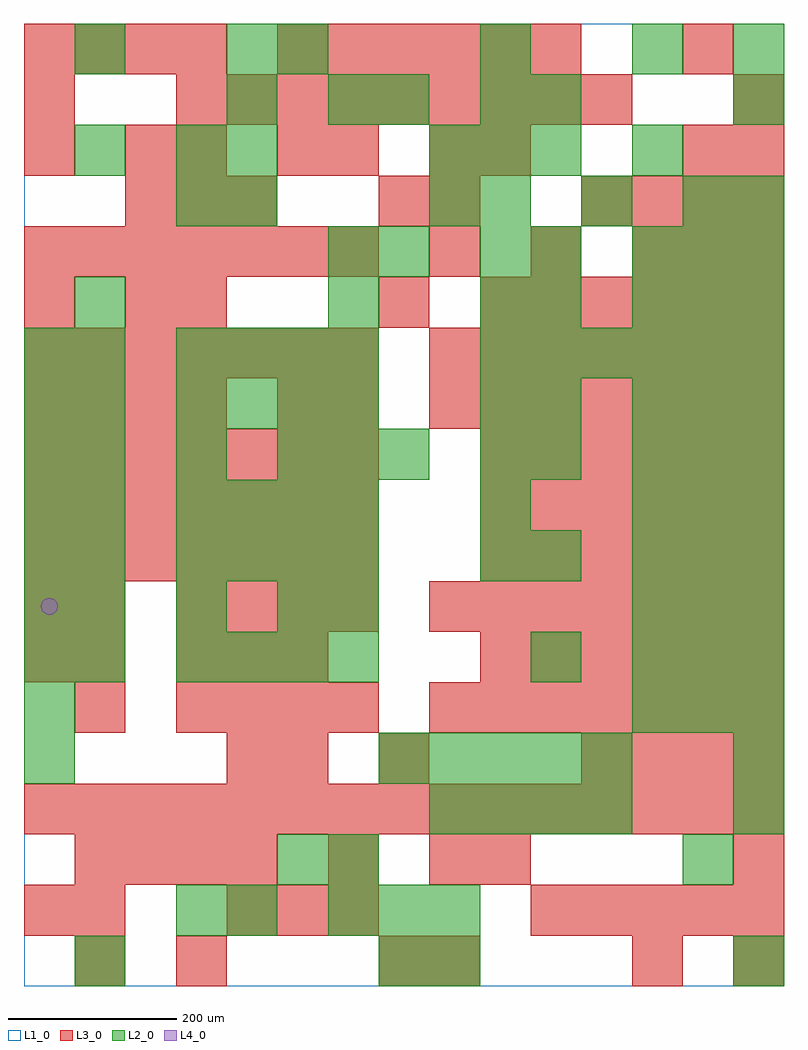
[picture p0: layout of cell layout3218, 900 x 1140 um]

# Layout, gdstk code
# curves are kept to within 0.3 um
import gdstk
lib = gdstk.Library(unit=1e-6, precision=1e-09)
def R(c, l, rs):  # rectangles x0, y0, x1, y1
    for r in rs: c.add(gdstk.rectangle(r[:2], r[2:], *l))
def A(c, l, x, y, w, h, nx, ny, dx, dy):  # array of equal rectangles
    R(c, l, [(x+i*dx, y+j*dy, x+i*dx+w, y+j*dy+h) for i in range(nx) for j in range(ny)])
def P(c, l, *ps):  # polygons
    for p in ps: c.add(gdstk.Polygon(p, *l))
L1_0 = (1, 0)
L2_0 = (2, 0)
L3_0 = (3, 0)
L4_0 = (4, 0)

layout3218 = lib.new_cell('layout3218')
R(layout3218, L1_0, [(0,0,900,1140)])
A(layout3218, L2_0, 360, 60, 60, 60, 3, 1, 60, 0)
A(layout3218, L2_0, 480, 180, 60, 60, 4, 1, 60, 0)
A(layout3218, L2_0, 0, 240, 60, 60, 1, 9, 0, 60)
A(layout3218, L2_0, 420, 240, 60, 60, 5, 1, 60, 0)
A(layout3218, L2_0, 720, 300, 60, 60, 3, 7, 60, 60)
A(layout3218, L2_0, 180, 360, 60, 60, 4, 2, 60, 120)
A(layout3218, L2_0, 600, 360, 60, 60, 1, 3, 0, 120)
A(layout3218, L2_0, 60, 420, 60, 60, 3, 2, 120, 180)
A(layout3218, L2_0, 360, 420, 60, 60, 1, 3, 0, 180)
A(layout3218, L2_0, 540, 480, 60, 60, 1, 4, 0, 60)
A(layout3218, L2_0, 180, 540, 60, 60, 4, 2, 60, 120)
A(layout3218, L2_0, 60, 660, 60, 60, 1, 3, 0, 60)
A(layout3218, L2_0, 180, 720, 60, 60, 4, 1, 60, 0)
A(layout3218, L2_0, 540, 720, 60, 60, 6, 1, 60, 0)
A(layout3218, L2_0, 720, 780, 60, 60, 3, 2, 60, 60)
A(layout3218, L2_0, 240, 900, 60, 60, 1, 4, 0, 60)
A(layout3218, L2_0, 540, 900, 60, 60, 3, 1, 120, 0)
A(layout3218, L2_0, 480, 960, 60, 60, 3, 1, 60, 0)
R(layout3218, L2_0, [(60,0,120,60), (420,0,480,60), (480,0,540,60), (840,0,900,60), (180,60,240,120), (240,60,300,120), (300,120,360,180), (360,120,420,180), (780,120,840,180), (840,180,900,240), (840,240,900,300), (60,360,120,420), (60,480,120,540), (60,540,120,600), (420,600,480,660), (600,660,660,720), (540,780,600,840), (600,780,660,840), (360,840,420,900), (420,840,480,900), (540,840,600,900), (600,840,660,900), (180,900,240,960), (480,900,540,960), (840,900,900,960), (60,960,120,1020), (180,960,240,1020), (720,960,780,1020), (360,1020,420,1080), (420,1020,480,1080), (540,1020,600,1080), (600,1020,660,1080), (840,1020,900,1080), (60,1080,120,1140), (300,1080,360,1140), (540,1080,600,1140), (720,1080,780,1140), (840,1080,900,1140)])
A(layout3218, L3_0, 240, 60, 60, 60, 3, 1, 60, 0)
A(layout3218, L3_0, 600, 60, 60, 60, 5, 1, 60, 0)
A(layout3218, L3_0, 60, 120, 60, 60, 4, 1, 60, 0)
A(layout3218, L3_0, 0, 180, 60, 60, 15, 1, 60, 0)
A(layout3218, L3_0, 660, 240, 60, 60, 4, 2, 60, 660)
A(layout3218, L3_0, 60, 300, 60, 60, 1, 3, 0, 60)
A(layout3218, L3_0, 180, 300, 60, 60, 4, 2, 60, 120)
A(layout3218, L3_0, 480, 300, 60, 60, 7, 2, 60, 120)
A(layout3218, L3_0, 180, 360, 60, 60, 3, 1, 60, 0)
A(layout3218, L3_0, 540, 360, 60, 60, 6, 2, 60, 120)
A(layout3218, L3_0, 0, 480, 60, 60, 7, 3, 60, 60)
A(layout3218, L3_0, 540, 540, 60, 60, 6, 2, 60, 60)
A(layout3218, L3_0, 0, 660, 60, 60, 4, 2, 60, 420)
A(layout3218, L3_0, 480, 660, 60, 60, 7, 2, 60, 60)
A(layout3218, L3_0, 0, 720, 60, 60, 7, 2, 60, 120)
A(layout3218, L3_0, 540, 780, 60, 60, 6, 1, 60, 0)
A(layout3218, L3_0, 480, 840, 60, 60, 3, 1, 120, 0)
A(layout3218, L3_0, 780, 840, 60, 60, 1, 3, 0, 120)
A(layout3218, L3_0, 120, 900, 60, 60, 3, 1, 60, 0)
A(layout3218, L3_0, 180, 1020, 60, 60, 9, 1, 60, 0)
A(layout3218, L3_0, 300, 1080, 60, 60, 6, 1, 60, 0)
R(layout3218, L3_0, [(60,0,120,60), (180,0,240,60), (420,0,480,60), (480,0,540,60), (720,0,780,60), (840,0,900,60), (0,60,60,120), (60,60,120,120), (360,120,420,180), (480,120,540,180), (540,120,600,180), (840,120,900,180), (240,240,300,300), (300,240,360,300), (420,240,480,300), (0,360,60,420), (0,420,60,480), (300,660,360,720), (360,660,420,720), (0,780,60,840), (120,780,180,840), (180,780,240,840), (420,780,480,840), (840,840,900,900), (420,900,480,960), (480,900,540,960), (0,960,60,1020), (120,960,180,1020), (180,960,240,1020), (300,960,360,1020), (360,960,420,1020), (480,960,540,1020), (540,960,600,1020), (840,960,900,1020), (0,1020,60,1080), (840,1020,900,1080)])
P(layout3218, L4_0, [(40,450),(39.239,453.827),(37.071,457.071),(33.827,459.239),(30,460),(26.173,459.239),(22.929,457.071),(20.761,453.827),(20,450),(20.761,446.173),(22.929,442.929),(26.173,440.761),(30,440),(33.827,440.761),(37.071,442.929),(39.239,446.173)])

lib.write_gds('layout3218.gds')
